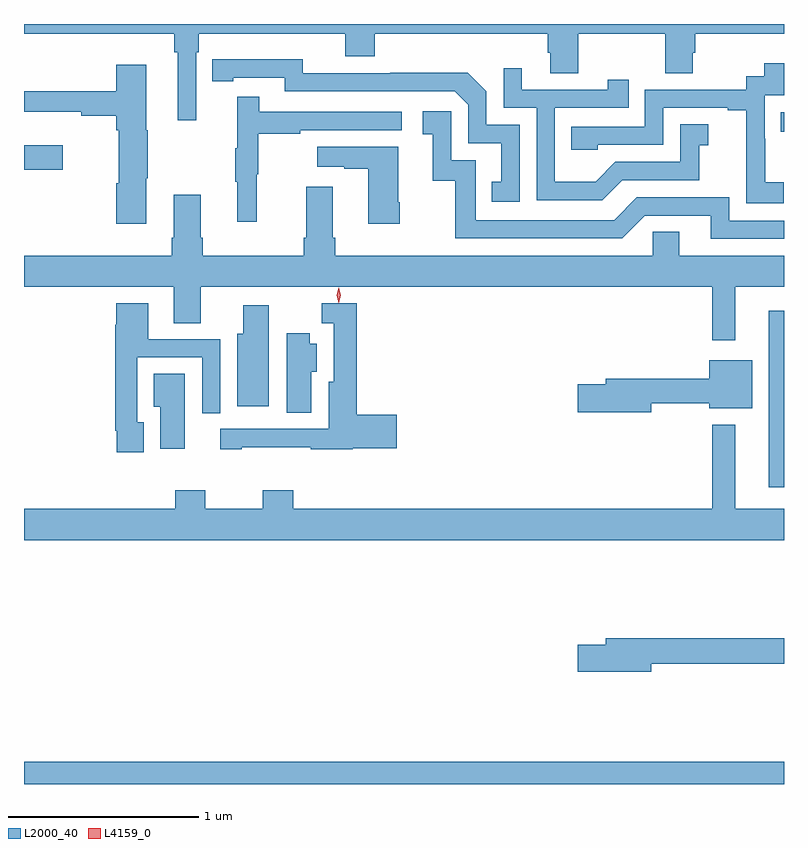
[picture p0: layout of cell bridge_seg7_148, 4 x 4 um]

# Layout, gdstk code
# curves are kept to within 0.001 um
import gdstk
lib = gdstk.Library(unit=1e-6, precision=1e-09)
def R(c, l, rs):  # rectangles x0, y0, x1, y1
    for r in rs: c.add(gdstk.rectangle(r[:2], r[2:], *l))
def P(c, l, *ps):  # polygons
    for p in ps: c.add(gdstk.Polygon(p, *l))
L2000_40 = (2000, 40)
L4159_0 = (4159, 0)

bridge_seg7_148 = lib.new_cell('bridge_seg7_148')
R(bridge_seg7_148, L2000_40, [(566.684,1027.304,570.684,1027.42), (570.605,1028.867,570.684,1029.796), (566.684,1030.537,566.887,1030.666), (570.667,1030.738,570.684,1030.839)])
P(bridge_seg7_148, L2000_40, [(567.591,1031.156),(567.605,1031.156),(567.605,1031.252),(568.376,1031.252),(568.376,1031.135),(568.529,1031.135),(568.529,1031.252),(569.441,1031.252),(569.441,1031.154),(569.453,1031.154),(569.453,1031.044),(569.601,1031.044),(569.601,1031.252),(570.058,1031.252),(570.058,1031.044),(570.205,1031.044),(570.205,1031.154),(570.218,1031.154),(570.218,1031.252),(570.684,1031.252),(570.684,1031.304),(566.684,1031.304),(566.684,1031.252),(567.475,1031.252),(567.475,1031.156),(567.494,1031.156),(567.494,1030.797),(567.591,1030.797)],
  [(569.292,1030.773),(569.118,1030.773),(569.118,1030.95),(569.02,1031.048),(568.612,1031.048),(568.612,1031.046),(568.152,1031.046),(568.152,1031.119),(567.676,1031.118),(567.676,1031.002),(567.784,1031.002),(567.784,1031.022),(568.056,1031.022),(568.056,1030.95),(568.95,1030.95),(569.022,1030.878),(569.022,1030.677),(569.195,1030.677),(569.195,1030.473),(569.146,1030.473),(569.146,1030.368),(569.292,1030.368)],
  [(570.682,1030.471),(570.584,1030.471),(570.584,1030.7),(570.582,1030.7),(570.582,1030.929),(570.684,1030.929),(570.684,1031.098),(570.579,1031.098),(570.579,1031.028),(570.486,1031.028),(570.486,1030.959),(569.952,1030.959),(569.952,1030.764),(569.563,1030.764),(569.563,1030.641),(569.703,1030.641),(569.703,1030.668),(570.048,1030.668),(570.048,1030.863),(570.389,1030.863),(570.389,1030.851),(570.485,1030.851),(570.485,1030.567),(570.484,1030.567),(570.484,1030.361),(570.682,1030.361)],
  [(567.328,1030.492),(567.336,1030.492),(567.336,1030.745),(567.328,1030.745),(567.328,1031.089),(567.17,1031.089),(567.17,1030.951),(566.684,1030.951),(566.684,1030.841),(566.986,1030.841),(566.986,1030.822),(567.17,1030.822),(567.17,1030.745),(567.182,1030.745),(567.182,1030.466),(567.17,1030.466),(567.17,1030.254),(567.328,1030.254)],
  [(569.833,1030.482),(570.237,1030.482),(570.237,1030.667),(570.286,1030.667),(570.286,1030.777),(570.138,1030.777),(570.138,1030.578),(569.796,1030.578),(569.692,1030.474),(569.478,1030.474),(569.478,1030.863),(569.867,1030.863),(569.867,1031.011),(569.756,1031.011),(569.756,1030.959),(569.305,1030.959),(569.305,1031.071),(569.208,1031.071),(569.208,1030.863),(569.382,1030.863),(569.382,1030.377),(569.728,1030.377)],
  [(567.908,1030.512),(567.916,1030.512),(567.916,1030.726),(568.139,1030.726),(568.139,1030.746),(568.672,1030.746),(568.672,1030.842),(567.923,1030.842),(567.923,1030.921),(567.806,1030.921),(567.806,1030.649),(567.795,1030.649),(567.795,1030.475),(567.806,1030.475),(567.806,1030.263),(567.908,1030.263)],
  [(570.684,1030.269),(570.396,1030.269),(570.396,1030.392),(569.91,1030.392),(569.79,1030.272),(569.061,1030.272),(569.061,1030.587),(568.932,1030.587),(568.932,1030.846),(568.782,1030.846),(568.782,1030.725),(568.835,1030.725),(568.835,1030.478),(568.953,1030.478),(568.953,1030.176),(569.832,1030.176),(569.952,1030.296),(570.299,1030.296),(570.299,1030.173),(570.684,1030.173)],
  [(568.662,1030.366),(568.654,1030.366),(568.654,1030.657),(568.227,1030.657),(568.227,1030.553),(568.37,1030.553),(568.37,1030.543),(568.496,1030.543),(568.496,1030.254),(568.662,1030.254)],
  [(570.427,1029.92),(570.684,1029.92),(570.684,1030.084),(570.133,1030.084),(570.133,1030.211),(569.994,1030.211),(569.994,1030.084),(568.322,1030.084),(568.322,1030.18),(568.309,1030.18),(568.309,1030.447),(568.169,1030.447),(568.169,1030.18),(568.157,1030.18),(568.157,1030.084),(567.626,1030.084),(567.626,1030.18),(567.613,1030.18),(567.613,1030.405),(567.473,1030.405),(567.473,1030.18),(567.461,1030.18),(567.461,1030.084),(566.684,1030.084),(566.684,1029.92),(567.473,1029.92),(567.473,1029.73),(567.613,1029.73),(567.613,1029.92),(570.306,1029.92),(570.306,1029.639),(570.427,1029.639)],
  [(567.313,1029.207),(567.279,1029.207),(567.279,1029.549),(567.621,1029.549),(567.621,1029.255),(567.717,1029.255),(567.717,1029.645),(567.337,1029.645),(567.337,1029.835),(567.17,1029.835),(567.17,1029.722),(567.163,1029.722),(567.163,1029.163),(567.171,1029.163),(567.171,1029.051),(567.313,1029.051)],
  [(567.829,1029.076),(568.193,1029.076),(568.193,1029.066),(568.413,1029.066),(568.413,1029.07),(568.645,1029.07),(568.645,1029.248),(568.435,1029.248),(568.435,1029.835),(568.25,1029.835),(568.25,1029.728),(568.313,1029.728),(568.313,1029.42),(568.289,1029.42),(568.289,1029.174),(567.717,1029.174),(567.717,1029.066),(567.829,1029.066)],
  [(567.973,1029.823),(567.839,1029.823),(567.839,1029.673),(567.806,1029.673),(567.806,1029.293),(567.973,1029.293)],
  [(568.195,1029.475),(568.225,1029.475),(568.225,1029.622),(568.188,1029.622),(568.188,1029.676),(568.067,1029.676),(568.067,1029.259),(568.195,1029.259)],
  [(569.986,1029.307),(570.29,1029.307),(570.29,1029.281),(570.517,1029.281),(570.517,1029.535),(570.29,1029.535),(570.29,1029.436),(569.747,1029.436),(569.747,1029.407),(569.598,1029.407),(569.598,1029.26),(569.986,1029.26)],
  [(567.529,1029.464),(567.368,1029.464),(567.368,1029.29),(567.401,1029.29),(567.401,1029.069),(567.529,1029.069)],
  [(570.684,1028.752),(570.427,1028.752),(570.427,1029.196),(570.306,1029.196),(570.306,1028.752),(568.1,1028.752),(568.1,1028.851),(567.94,1028.851),(567.94,1028.752),(567.639,1028.752),(567.639,1028.851),(567.479,1028.851),(567.479,1028.752),(566.684,1028.752),(566.684,1028.588),(570.684,1028.588)],
  [(569.986,1027.936),(570.684,1027.936),(570.684,1028.072),(569.747,1028.072),(569.747,1028.036),(569.598,1028.036),(569.598,1027.894),(569.986,1027.894)])
P(bridge_seg7_148, L4159_0, [(568.34,1029.835),(568.34,1029.835),(568.33,1029.876),(568.34,1029.917),(568.34,1029.917),(568.34,1029.917),(568.35,1029.876),(568.34,1029.835)])

lib.write_gds('bridge_seg7_148.gds')
